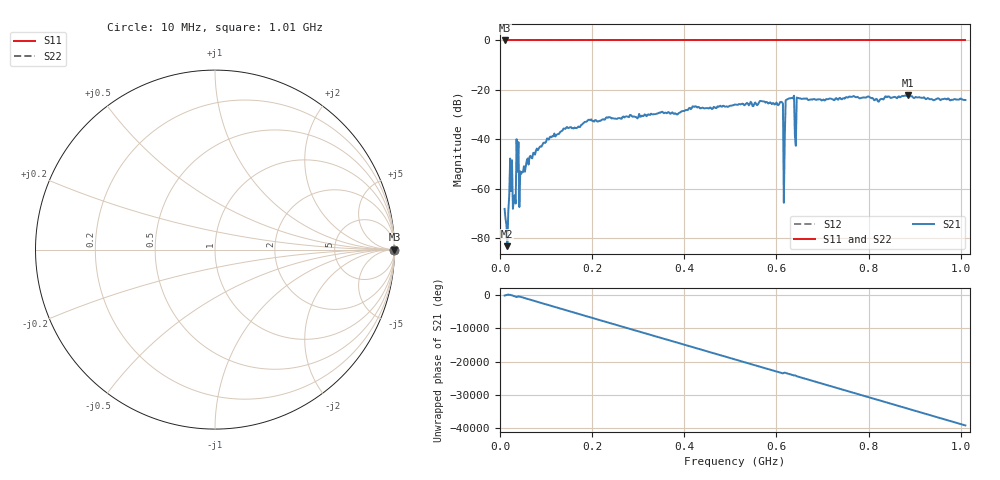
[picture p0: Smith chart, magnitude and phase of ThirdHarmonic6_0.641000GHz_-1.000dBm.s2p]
! 8/15/2025 9:13:32 PM
! C:\ANRITSUVNA\TEMP\TEMP.S2P
! CHANNEL.1
! TR.MEASUREMENT
! RAW.DATA
! RF.CORRECTION.OFF
! AVERAGING.OFF
! IF.BANDWIDTH: 5KHZ
! SWEEPTYPE:  FREQ.SWEEP(Linear)
! Reference Plane Port Info
! PORT:  PORT1  PORT2
! DISTANCE:  0  m  0  m
! TIME:  0  s  0  s
! PHASE.OFFSET:  0  deg.  0  deg.
! LOSS:  0  dB  0  dB
! REF.LOSS:  0  dB  0  dB
! REF.FREQ:  0  Hz  0  Hz
! Power Info
! POWER:  -20  dBm  -20  dBm
! EFF.POWER:  -20  dBm  -20  dBm
! SOURCE.ATTEN:  0  dB  0  dB
! TEST.ATTEN:  0  dB  0  dB
# GHZ S RI R 50.0
! FREQ.GHZ  S11RE  S11IM  S21RE  S21IM  S12RE  S12IM  S22RE  S22IM
!; PortSelection: Port_12
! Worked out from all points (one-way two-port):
!   501 points, 10 MHz to 1.01 GHz, reference 50 ohm
!   highest |S21| = -22.22 dB at 886 MHz (marker M1); lowest = -83.2 dB at 16 MHz (marker M2)
!   lowest |S11| = 0.0 dB at 10 MHz (marker M3)
!   |S11| at or under -10 dB: nowhere
!   |S22| runs from 0.0 to 0.0 dB; largest |S21 - S12| = 1.1
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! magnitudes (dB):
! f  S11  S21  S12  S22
! 10 MHz  0.0  -68.1  0.0  0.0
! 16 MHz  0.0  -83.2  0.0  0.0
! 22 MHz  0.0  -47.7  0.0  0.0
! 30 MHz  0.0  -64.5  0.0  0.0
! 40 MHz  0.0  -41.1  0.0  0.0
! 46 MHz  0.0  -53.9  0.0  0.0
! 106 MHz  0.0  -40.1  0.0  0.0
! 178 MHz  0.0  -34.0  0.0  0.0
! 344 MHz  0.0  -29.4  0.0  0.0
! 510 MHz  0.0  -25.9  0.0  0.0
! 610 MHz  0.0  -24.8  0.0  0.0
! 614 MHz  0.0  -25.5  0.0  0.0
! 620 MHz  0.0  -24.2  0.0  0.0
! 624 MHz  0.0  -23.8  0.0  0.0
! 634 MHz  0.0  -23.3  0.0  0.0
! 638 MHz  0.0  -22.3  0.0  0.0
! 644 MHz  0.0  -23.0  0.0  0.0
! 648 MHz  0.0  -23.3  0.0  0.0
! 678 MHz  0.0  -23.9  0.0  0.0
! 844 MHz  0.0  -22.7  0.0  0.0
! 886 MHz  0.0  -22.2  0.0  0.0
! 1.01 GHz  0.0  -24.1  0.0  0.0
